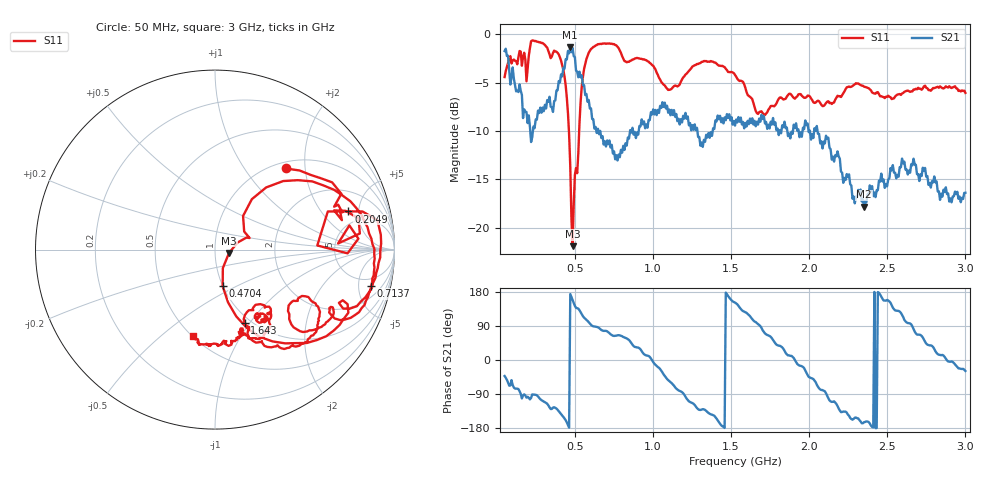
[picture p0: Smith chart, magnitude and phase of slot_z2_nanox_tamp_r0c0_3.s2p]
! nanovna_capture.py 2026-10-26T21:36:18+0900
! NanoVNA-F_V2 fw 0.6.0 SN 4A3639384505514B
! cal: load open short thru cal'ed  over 50000000-3000000000 Hz, 201 points
! points 401, avg 4
! slot line z=1.6, tampered Nano X, 0 deg, centred, placement 3
# HZ S RI R 50
! S12 and S22 are not measured (written as 0)
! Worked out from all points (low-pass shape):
!   401 points, 50 MHz to 3 GHz, reference 50 ohm
!   highest |S21| = -1.35 dB at 470.4 MHz (marker M1); lowest = -17.8 dB at 2.351 GHz (marker M2)
!   |S21| within 3 dB of the highest: start of sweep to 82.59 MHz; 418.8 MHz to 520.6 MHz (101.8 MHz wide, 21.7 % of centre) (the widest 2 of 6)
!   lowest |S11| = -21.9 dB at 485.1 MHz (marker M3), VSWR 1.17, Z = 58.4 - j2.2 ohm
!   |S11| at or under -10 dB: 461.7 MHz to 527.4 MHz (65.64 MHz wide, 13.3 % of centre)
!   S12 and S22 are empty: the file has one direction only
!   S11 on the Smith chart (normalised r, x): 50 MHz: 1.12, +1.58; 204.9 MHz: 3.62, +3.83; 470.4 MHz: 1.00, -0.42; 713.8 MHz: 3.48, -6.98; 1.643 GHz: 0.93, -0.94; 3 GHz: 0.51, -0.65
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5e7  0.3946 0.4522  0.605 -0.5503  0 0  0 0
1.75375e8  0.7989 0.0609  -0.00433 -0.4089  0 0  0 0
2.04875e8  0.7433 0.2129  -0.0641 -0.375  0 0  0 0
2.63875e8  0.9068 -0.103  -0.0424 -0.4006  0 0  0 0
4.04e8  0.567 -0.504  -0.4254 -0.3685  0 0  0 0
4.4825e8  0.1763 -0.4354  -0.7129 -0.1961  0 0  0 0
4.70375e8  0.0428 -0.2034  -0.8512 0.0901  0 0  0 0
4.85125e8  0.0781 -0.0187  -0.7904 0.3093  0 0  0 0
5.44125e8  0.3798 0.3819  -0.3113 0.5273  0 0  0 0
6.03125e8  0.8154 0.195  -0.0208 0.4133  0 0  0 0
7.1375e8  0.8697 -0.2031  0.0768 0.2587  0 0  0 0
1.03825e9  0.4256 -0.4171  0.3663 -0.1383  0 0  0 0
1.207875e9  0.5448 -0.2922  -0.0453 -0.3892  0 0  0 0
1.525e9  0.2923 -0.5424  -0.2961 0.161  0 0  0 0
1.643e9  0.1651 -0.4078  -0.0839 0.3307  0 0  0 0
1.842125e9  0.297 -0.3527  0.3214 0.1461  0 0  0 0
2.019125e9  0.2301 -0.3946  0.201 -0.2287  0 0  0 0
2.196125e9  0.2787 -0.3889  -0.1558 -0.1656  0 0  0 0
2.351e9  0.2098 -0.4926  -0.1234 -0.0348  0 0  0 0
2.51325e9  0.1422 -0.4531  -0.1626 0.0772  0 0  0 0
2.668125e9  0.1219 -0.5027  0.0333 0.2248  0 0  0 0
3e9  -0.121 -0.4824  0.1327 -0.0733  0 0  0 0
